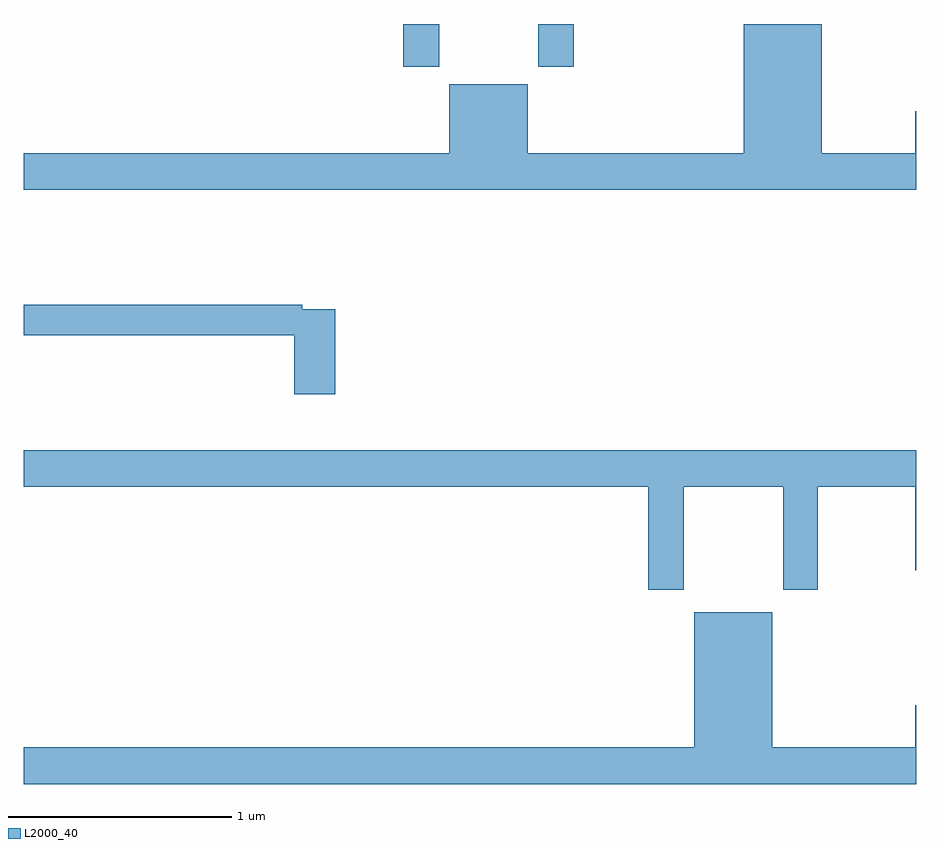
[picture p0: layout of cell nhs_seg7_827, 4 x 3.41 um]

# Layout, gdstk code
import gdstk
lib = gdstk.Library(unit=1e-6, precision=1e-09)
def R(c, l, rs):  # rectangles x0, y0, x1, y1
    for r in rs: c.add(gdstk.rectangle(r[:2], r[2:], *l))
def P(c, l, *ps):  # polygons
    for p in ps: c.add(gdstk.Polygon(p, *l))
L2000_40 = (2000, 40)

nhs_seg7_827 = lib.new_cell('nhs_seg7_827')
R(nhs_seg7_827, L2000_40, [(174.701,1027.809,174.861,1028), (175.306,1027.809,175.466,1028)])
P(nhs_seg7_827, L2000_40, [(177,1027.609),(176.996,1027.609),(176.996,1027.42),(176.578,1027.42),(176.578,1028),(176.228,1028),(176.228,1027.42),(175.258,1027.42),(175.258,1027.729),(174.908,1027.729),(174.908,1027.42),(173,1027.42),(173,1027.256),(177,1027.256)],
  [(174.395,1026.72),(174.248,1026.72),(174.248,1026.74),(173,1026.74),(173,1026.604),(174.212,1026.604),(174.212,1026.339),(174.395,1026.339)],
  [(175.959,1025.924),(176.404,1025.924),(176.404,1025.463),(176.559,1025.463),(176.559,1025.924),(176.996,1025.924),(176.996,1025.55),(177,1025.55),(177,1026.088),(173,1026.088),(173,1025.924),(175.799,1025.924),(175.799,1025.463),(175.959,1025.463)],
  [(177,1024.945),(176.996,1024.945),(176.996,1024.756),(176.356,1024.756),(176.356,1025.362),(176.006,1025.362),(176.006,1024.756),(173,1024.756),(173,1024.592),(177,1024.592)])

lib.write_gds('nhs_seg7_827.gds')
